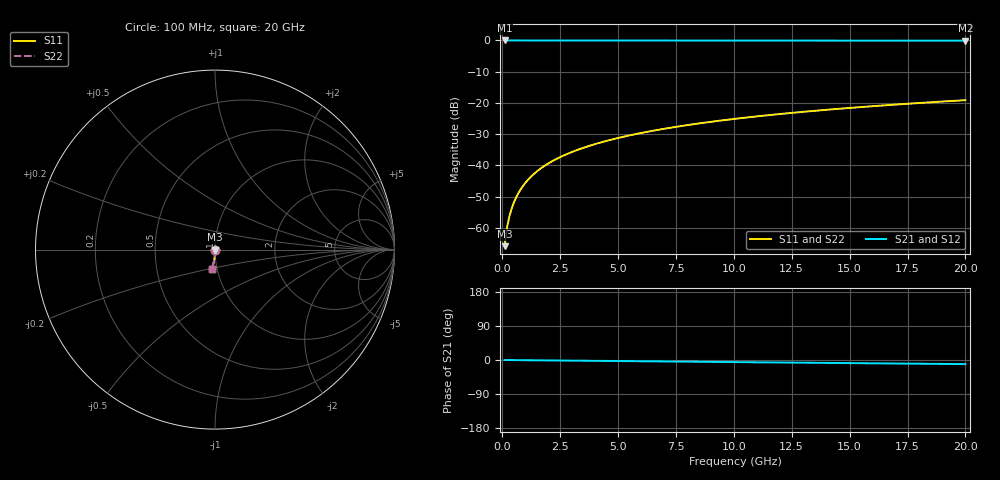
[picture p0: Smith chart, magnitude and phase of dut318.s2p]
! Touchstone file exported from HFSS 2026.1.0
!  File:  C:/ffzhzh/LocalFiles/Ansys_Project_Files/temp_train_TSV_318_1783018280_4048.aedt
!  Generated:  02:52:50 AM Jul  3, 2026
!  Design:  TSV
!  Project:  temp_train_TSV_318_1783018280_4048
! Variables:
!  h_bsmrdl = 2um
!  h_ox = 20um
!  h_rdl = 5um
!  h_sub = 97.07um
!  h_tmrdl = 5um
!  h_tsv = 97.07um
!  h_via = 3um
!  l_bsmrdl = 300um
!  l_sub = 421.12um
!  l_tmrdl = 200um
!  m_sub = 200um
!  pitch = 26.27um
!  r_tsv = 10.56um
!  s_tmrdl = 10um
!  w_bsmrdl = 18um
!  w_sub = 500um
!  w_tmrdl = 12um
!  x_tsv_center1 = 206um
!  x_tsv_center2 = 524um
!  x_tsv_center3 = 736um
!  x_tsv_center4 = 1054um
!  x_tsv_center5 = 1266um
!  x_tsv_center6 = 1584um
# GHz S MA R 50.000000
! Terminal data exported
! Port[1] = TSV1_1_T1
! Port[2] = TSV1_1_T2
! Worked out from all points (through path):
!   200 points, 100 MHz to 20 GHz, reference 50 ohm
!   highest |S21| = 0.00 dB at 100 MHz (marker M1); lowest = -0.1 dB at 20 GHz (marker M2)
!   group delay of S21, straight-line fit = 1.51 ps
!   lowest |S11| = -65.8 dB at 100 MHz (marker M3), VSWR 1.00, Z = 50 - j0.0486 ohm
!   |S11| at or under -10 dB: start of sweep to end of sweep
!   |S22| runs from -65.8 to -19.1 dB; largest |S21 - S12| = 3.7e-15
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0.1  0.00051 -72.1  0.9998 -0.1  0.9998 -0.1  0.00051 -72.1
! Gamma 0 0 0 0
! Port Impedance 50 0 50 0
0.2  0.0009945 -79.6  0.9998 -0.1  0.9998 -0.1  0.0009945 -79.6
0.3  0.001498 -81.8  0.9998 -0.2  0.9998 -0.2  0.001498 -81.8
0.4  0.002016 -82.8  0.9997 -0.2  0.9997 -0.2  0.002016 -82.8
0.5  0.002545 -83.5  0.9997 -0.3  0.9997 -0.3  0.002545 -83.5
0.7  0.003628 -84.5  0.9996 -0.4  0.9996 -0.4  0.003628 -84.5
0.8  0.004177 -84.9  0.9996 -0.5  0.9996 -0.5  0.004177 -84.9
1  0.005281 -85.6  0.9995 -0.6  0.9995 -0.6  0.005281 -85.6
1.2  0.006388 -86.2  0.9995 -0.7  0.9995 -0.7  0.006388 -86.2
1.4  0.007496 -86.7  0.9994 -0.8  0.9994 -0.8  0.007496 -86.7
1.7  0.009158 -87.4  0.9994 -1.0  0.9994 -1.0  0.009158 -87.4
2  0.01082 -87.9  0.9993 -1.1  0.9993 -1.1  0.01082 -87.9
2.7  0.01469 -88.8  0.9992 -1.5  0.9992 -1.5  0.01469 -88.8
3.5  0.01913 -89.6  0.999 -1.9  0.999 -1.9  0.01913 -89.6
4.2  0.02302 -90.2  0.9989 -2.3  0.9989 -2.3  0.02302 -90.2
5  0.02748 -90.8  0.9987 -2.8  0.9987 -2.8  0.02748 -90.8
6.8  0.03753 -92.0  0.9982 -3.7  0.9982 -3.7  0.03753 -92.0
8.3  0.04591 -93.0  0.9977 -4.6  0.9977 -4.6  0.04591 -93.0
10.1  0.05596 -94.1  0.997 -5.5  0.997 -5.5  0.05596 -94.1
13.4  0.07433 -96.1  0.9956 -7.3  0.9956 -7.3  0.07433 -96.1
16.7  0.09259 -98.0  0.9939 -9.1  0.9939 -9.1  0.09259 -98.0
20  0.1107 -99.9  0.9918 -10.9  0.9918 -10.9  0.1107 -99.9
